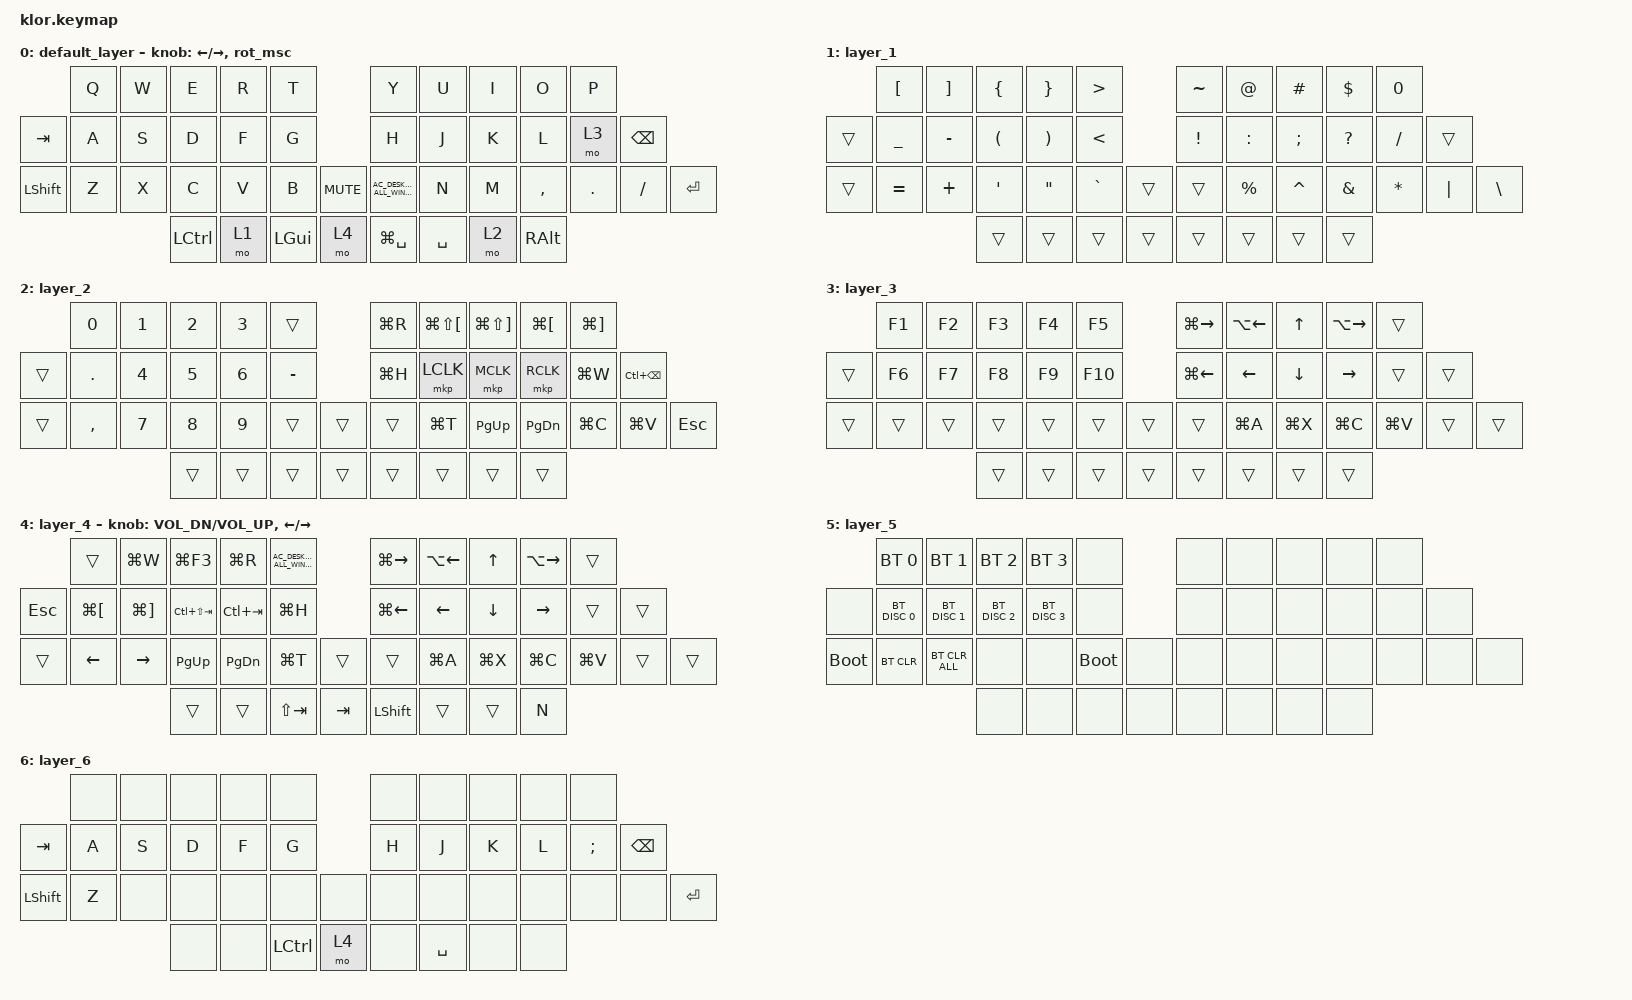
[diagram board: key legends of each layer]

//                               █         █    █            ▄▄▄▀▀▀▀▀▀▄▄▄        █▀▀▀▀▀▀▀▀▀▀█
//                               █        █     █          ▄▀            ▀▄      █          █
//                               █       █      █        ▄▀                ▀▄    █          █
//                               █      █       █        █                  █    █          █
//                               █     █        █       █                    █   █          █
//                               █    █         █       █                    █   █▄▄▄▄▄▄▄▄▄▄█
//                               █   █ █        █       █                    █   █      █
//                               █  █   █       █        █                  █    █       █
//                               █ █     █      █        ▀▄                ▄▀    █        █
//                               ██       █     █          ▀▄            ▄▀      █         █
//                               █         █    █▄▄▄▄▄▄▄▄    ▀▀▀▄▄▄▄▄▄▀▀▀        █          █
//
// ▄▄▄▄▄▄▄▄▄▄▄▄▄▄▄▄▄▄▄▄▄▄▄▄▄▄▄▄▄▄▄▄▄▄▄▄▄▄▄▄▄▄▄▄▄▄▄▄▄▄▄▄▄▄▄▄▄▄▄▄▄▄▄▄▄▄▄▄▄▄▄▄▄▄▄▄▄▄▄▄▄▄▄▄▄▄▄▄▄▄▄▄▄▄▄▄▄▄▄▄▄▄▄▄▄▄▄▄▄▄▄▄▄▄▄▄▄▄▄▄▄▄▄▄

#define ZMK_POINTING_DEFAULT_SCRL_VAL 160
       
#include <behaviors.dtsi>
#include <dt-bindings/zmk/keys.h>
#include <dt-bindings/zmk/bt.h>
#include <dt-bindings/zmk/mouse.h>
#include <dt-bindings/zmk/pointing.h>

/*
 * how to flash: 
 * press two key in the bottom, then DOUBLE click left most key, then it will go into boot mod
 *
 */

&msc {
    trigger-period-ms = <10>;
    time-to-max-speed-ms = <0>;
    acceleration-exponent = <0>;
};

/ {
    behaviors {
        rot_msc: encoder_msc_down_up {
            compatible = "zmk,behavior-sensor-rotate";
            label = "ENCODER_MSC_DOWN_UP";
            #sensor-binding-cells = <0>;
            bindings = <&msc SCRL_DOWN>, <&msc SCRL_UP>;
            tap-ms = <30>;
        };
    };

    macros {
        press_gui: press_gui {
            label = "ZM_press_gui";
            compatible = "zmk,behavior-macro";
            #binding-cells = <0>;
            bindings
                = <&macro_press &mo 4 &kp LGUI>
                , <&macro_pause_for_release>
                , <&macro_release &mo 4 &kp LGUI>
                ;
        };
    };

     combos {
        compatible = "zmk,combos";
// this is used for switch between apps
        combo_1 {
            layers = <0>;
            timeout-ms = <50>;
            key-positions = <13 14>;
            bindings = <&press_gui>;
        };
// this is used for set BLE profile, and reset for current profile
        combo_2 {
            layers = <0>;
            timeout-ms = <50>;
            key-positions = <36 37>;
            bindings = <&mo 5>;
        };
//  dj-max: move to layer for DJ-max
        combo_3 {
            layers = <4 6>;
            timeout-ms = <90>;
            key-positions = <0 3>;
            bindings = <&tog 6>;
        };

//  ctl + alt + Left: move window to left 1/3
        combo_7 {
            layers = <0>;
            timeout-ms = <50>;
            key-positions = <23 24>;
            bindings = <&kp LG(LA(LEFT))>;
        };

//  ctl + alt + down: move window to middle 1/3
        combo_8 {
            layers = <0>;
            timeout-ms = <50>;
            key-positions = <24 25>;
            bindings = <&kp LG(LA(DOWN))>;
        };

//  ctl + alt + right: move window to right 1/3
        combo_9 {
            layers = <0>;
            timeout-ms = <50>;
            key-positions = <25 26>;
            bindings = <&kp LG(LA(RIGHT))>;
        };

//  command + option + left: move window to left 2/3
        combo_10 {
            layers = <0>;
            timeout-ms = <50>;
            key-positions = <23 25>;
            bindings = <&kp LG(LC(LEFT))>;
        };

//  command + option + right: move window to right 2/3
        combo_11 {
            layers = <0>;
            timeout-ms = <50>;
            key-positions = <24 26>;
            bindings = <&kp LG(LC(RIGHT))>;
        };

//  alt + option + left: move window to left 1/2
        combo_12 {
            layers = <0>;
            timeout-ms = <50>;
            key-positions = <23 24 25>;
            bindings = <&kp LC(LA(LEFT))>;
        };

//  alt + option + right: move window to right 1/2
        combo_13 {
            layers = <0>;
            timeout-ms = <50>;
            key-positions = <24 25 26>;
            bindings = <&kp LC(LA(RIGHT))>;
        };

//  SHIFT: make all character capitolized
        combo_14 {
            layers = <0>;
            timeout-ms = <90>;
            key-positions = <38 41>;
            bindings = <&kp LSHFT>;
        };

//  ctrl+tab: chrome tab right select
        combo_15 {
            layers = <4>;
            timeout-ms = <90>;
            key-positions = <13 14>;
            bindings = <&kp LC(TAB)>;
        };

//  ctrl+tab: chrome tab left select
        combo_16 {
            layers = <4>;
            timeout-ms = <90>;
            key-positions = <12 13>;
          bindings = <&kp LC(LS(TAB))>;
        };

// f11
        combo_17 {
            layers = <3>;
            timeout-ms = <90>;
            key-positions = <0 36>;
          bindings = <&kp F11>;
        };

// f12
        combo_18 {
            layers = <3>;
            timeout-ms = <90>;
            key-positions = <1 36>;
          bindings = <&kp F12>;
        };

// f13
        combo_19 {
            layers = <3>;
            timeout-ms = <90>;
            key-positions = <2 36>;
          bindings = <&kp F13>;
        };

// f14
        combo_20 {
            layers = <3>;
            timeout-ms = <90>;
            key-positions = <3 36>;
          bindings = <&kp F14>;
        };

// f15
        combo_21 {
            layers = <3>;
            timeout-ms = <90>;
            key-positions = <4 36>;
          bindings = <&kp F15>;
        };

// f16
        combo_22 {
            layers = <3>;
            timeout-ms = <90>;
            key-positions = <11 36>;
          bindings = <&kp F16>;
        };

// f17
        combo_23 {
            layers = <3>;
            timeout-ms = <90>;
            key-positions = <12 36>;
          bindings = <&kp F17>;
        };

// f18
        combo_24 {
            layers = <3>;
            timeout-ms = <90>;
            key-positions = <13 36>;
          bindings = <&kp F18>;
        };

// f19
        combo_25 {
            layers = <3>;
            timeout-ms = <90>;
            key-positions = <14 36>;
          bindings = <&kp F19>;
        };

// f20
        combo_26 {
            layers = <3>;
            timeout-ms = <90>;
            key-positions = <15 36>;
          bindings = <&kp F20>;
        };



// add more here

    };





    keymap {
        compatible = "zmk,keymap";
        default_layer {

/*           ┌─────────┬─────────┬─────────┬─────────┬─────────┐                    ┌─────────┬─────────┬─────────┬─────────┬─────────┐
             │    0    │    1    │    2    │    3    │    4    │                    │    5    │    6    │    7    │    8    │    9    │   
   ┌─────────┼─────────┼─────────┼─────────┼─────────┼─────────┤                    ├─────────┼─────────┼─────────┼─────────┼─────────┼─────────┐
   │   10    │    11   │    12   │    13   │    14   │    15   │                    │    16   │    17   │    18   │    19   │    20   │    21   │
   ├─────────┼─────────┼─────────┼─────────┼─────────┼─────────┤╭────────╮╭────────╮├─────────┼─────────┼─────────┼─────────┼─────────┼─────────┤
   │   22    │    23   │    24   │    25   │    26   │    27   ││  MUTE  ││PLY/PSE ││    30   │    31   │    32   │    33   │    34   │    35   │
   └─────────┴─────────┴─────────┼─────────┼─────────┼─────────┼╰────────╯╰────────╯┼─────────┼─────────┼─────────┼─────────┴─────────┴─────────┘
                                 │    36   │    37   │    38   │   ALT   ││ CMD/WIN │    41   │    42   │    43   │  
                                 └─────────┴─────────┴─────────┴─────────┘└─────────┴─────────┴─────────┴─────────┘ */ 
            bindings = <
//╷          ╷         ╷         ╷         ╷         ╷         ╷         ╷╷         ╷         ╷         ╷         ╷         ╷         ╷         ╷

              &kp Q    &kp W    &kp E        &kp R        &kp T                       &kp Y  &kp U     &kp I     &kp O    &kp P    
&kp TAB       &kp A    &kp S    &kp D        &kp F        &kp G                       &kp H  &kp J     &kp K     &kp L    &mo 3    &kp BSPC
&kp LSHFT     &kp Z    &kp X    &kp C        &kp V        &kp B  &kp C_MUTE  &kp C_AC_DESKTOP_SHOW_ALL_WINDOWS   &kp N  &kp M     &kp COMMA &kp DOT  &kp FSLH &kp RET
                                    &kp LCTRL &mo 1  &kp LGUI  &mo 4    &kp LG(SPACE)  &kp SPACE    &mo 2   &kp RALT
            >;
            sensor-bindings = <&inc_dec_kp LEFT RIGHT &rot_msc>;

        };

// 1 left hand layer

        layer_1 {
            bindings = <
          &kp LBKT   &kp RBKT   &kp LBRC  &kp RBRC   &kp GT                      &kp TILDE &kp AT      &kp POUND   &kp DLLR     &kp N0
&trans    &kp UNDER  &kp MINUS  &kp LPAR  &kp RPAR   &kp LT                      &kp EXCL  &kp COLON   &kp SEMI    &kp QMARK   &kp FSLH  &trans
&trans    &kp EQUAL  &kp PLUS   &kp SQT   &kp DQT    &kp GRAVE  &trans  &trans   &kp PRCNT &kp CARET   &kp AMPS    &kp STAR    &kp PIPE  &kp BSLH
                                         &trans  &trans  &trans  &trans     &trans  &trans  &trans  &trans 
            >;
        };

// 2 right hand layer

        layer_2 {
            bindings = <
        &kp N0  &kp N1  &kp N2  &kp N3  &trans                     &kp LG(R)   &kp LG(LS(LBKT)) &kp LG(LS(RBKT))  &kp LG(LBKT)  &kp LG(RBKT)
&trans  &kp DOT  &kp N4  &kp N5  &kp N6  &kp MINUS                      &kp LG(H)   &mkp LCLK        &mkp MCLK         &mkp RCLK       &kp LG(W)  &kp LC(BSPC)
&trans  &kp COMMA  &kp N7  &kp N8  &kp N9  &trans  &trans     &trans   &kp LG(T)   &kp PG_UP        &kp PG_DN         &kp LG(C)     &kp LG(V)    &kp ESC
                                        &trans  &trans  &trans  &trans     &trans  &trans  &trans  &trans 
           >;
        };

// 3 navigation layer with F keys

        layer_3 {
            bindings = <
          &kp F1       &kp F2      &kp F3   &kp F4          &kp F5                                &kp LG(RIGHT)    &kp LA(LEFT)    &kp UP     &kp LA(RIGHT)  &trans
&trans   &kp F6       &kp F7      &kp F8     &kp F9        &kp F10                                &kp LG(LEFT)     &kp LEFT        &kp DOWN   &kp RIGHT      &trans  &trans
&trans    &trans     &trans      &trans         &trans       &trans  &trans  &trans                &kp LG(A)   &kp LG(X)       &kp LG(C)     &kp LG(V)    &trans  &trans
                                    &trans  &trans  &trans    &trans          &trans   &trans  &trans     &trans            
           >;
        };

// 4 left thumb layer

        layer_4 {
            bindings = <
          &trans         &kp LG(W)     &kp LG(F3)         &kp LG(R)         &kp C_AC_DESKTOP_SHOW_ALL_WINDOWS       &kp LG(RIGHT)    &kp LA(LEFT)    &kp UP     &kp LA(RIGHT)  &trans
&kp ESC   &kp LG(LBKT)   &kp LG(RBKT)  &kp LC(LS(TAB)) &kp LC(TAB) &kp LG(H)                                &kp LG(LEFT)     &kp LEFT        &kp DOWN   &kp RIGHT      &trans  &trans
&trans    &kp LEFT       &kp RIGHT    &kp PG_UP        &kp PG_DN        &kp LG(T)  &trans  &trans    &kp LG(A)   &kp LG(X)       &kp LG(C)     &kp LG(V)    &trans  &trans
                                    &trans  &trans  &kp LS(TAB)    &kp TAB          &kp LSHFT   &trans  &trans     &kp N             
           >;
           sensor-bindings = <&inc_dec_kp C_VOL_DN C_VOL_UP &inc_dec_kp LEFT RIGHT>;
        };

// 5 boot load layer

        layer_5 {
            bindings = <
              &bt BT_SEL 0    &bt BT_SEL 1    &bt BT_SEL 2    &bt BT_SEL 3 &none              &none &none &none &none &none
&none         &bt BT_DISC 0   &bt BT_DISC 1   &bt BT_DISC 2   &bt BT_DISC 3 &none          &none &none &none &none &none &none             
&bootloader &bt BT_CLR &bt BT_CLR_ALL &none &none &bootloader &none                &none &none &none &none &none &none  &none
                    &none &none &none &none       &none &none &none &none
           >;
        };


// 6 DJ-max layer

        layer_6 {
            bindings = <
              &none &none &none &none &none             &none &none &none &none &none
&kp TAB       &kp A  &kp S  &kp D   &kp F  &kp G            &kp H  &kp J &kp K  &kp L  &kp SEMI  &kp BSPC  
&kp LSHFT   &kp Z &none &none &none &none &none &none &none &none &none &none &none &kp RET  
                    &none &none &kp LCTRL &mo 4       &none  &kp SPACE &none &none
           >;
        };
    };
};
